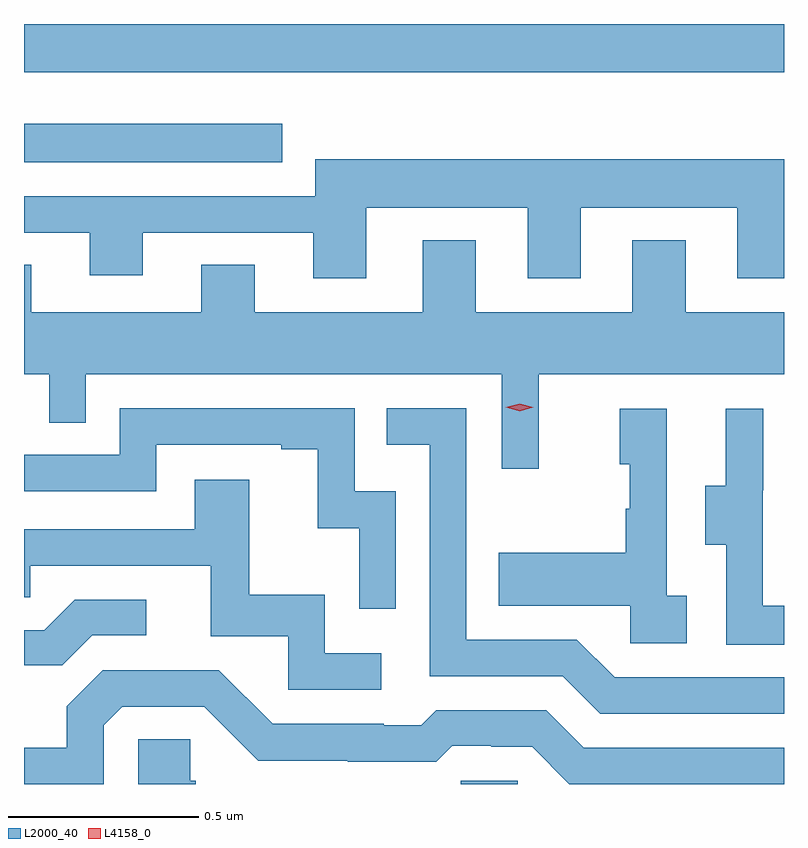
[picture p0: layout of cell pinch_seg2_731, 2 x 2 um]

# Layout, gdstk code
import gdstk
lib = gdstk.Library(unit=1e-6, precision=1e-09)
def R(c, l, rs):  # rectangles x0, y0, x1, y1
    for r in rs: c.add(gdstk.rectangle(r[:2], r[2:], *l))
def P(c, l, *ps):  # polygons
    for p in ps: c.add(gdstk.Polygon(p, *l))
L2000_40 = (2000, 40)
L4158_0 = (4158, 0)

pinch_seg2_731 = lib.new_cell('pinch_seg2_731')
R(pinch_seg2_731, L2000_40, [(1115.157,597.274,1115.307,597.282), (1114.008,598.91,1114.687,599.011), (1114.008,599.147,1116.008,599.274)])
P(pinch_seg2_731, L2000_40, [(1114.909,598.79),(1115.333,598.79),(1115.333,598.605),(1115.473,598.605),(1115.473,598.79),(1115.885,598.79),(1115.885,598.605),(1116.008,598.605),(1116.008,598.918),(1114.775,598.918),(1114.775,598.821),(1114.008,598.821),(1114.008,598.725),(1114.181,598.725),(1114.181,598.613),(1114.321,598.613),(1114.321,598.725),(1114.769,598.725),(1114.769,598.605),(1114.909,598.605)],
  [(1115.363,598.352),(1116.008,598.352),(1116.008,598.516),(1115.749,598.516),(1115.749,598.705),(1115.609,598.705),(1115.609,598.516),(1115.197,598.516),(1115.197,598.705),(1115.057,598.705),(1115.057,598.516),(1114.615,598.516),(1114.615,598.64),(1114.475,598.64),(1114.475,598.516),(1114.027,598.516),(1114.027,598.64),(1114.008,598.64),(1114.008,598.352),(1114.074,598.352),(1114.074,598.225),(1114.17,598.225),(1114.17,598.352),(1115.265,598.352),(1115.265,598.104),(1115.363,598.104)],
  [(1116.008,597.555),(1115.562,597.555),(1115.463,597.654),(1115.172,597.654),(1115.172,598.263),(1114.963,598.263),(1114.963,598.167),(1115.076,598.167),(1115.076,597.558),(1115.426,597.558),(1115.525,597.459),(1116.008,597.459)],
  [(1114.986,598.044),(1114.878,598.044),(1114.878,598.263),(1114.26,598.263),(1114.26,598.14),(1114.008,598.14),(1114.008,598.044),(1114.356,598.044),(1114.356,598.167),(1114.685,598.167),(1114.685,598.155),(1114.781,598.155),(1114.781,597.947),(1114.89,597.947),(1114.89,597.735),(1114.986,597.735)],
  [(1116.008,597.743),(1115.952,597.743),(1115.952,598.047),(1115.954,598.047),(1115.954,598.261),(1115.855,598.261),(1115.855,598.059),(1115.801,598.059),(1115.801,597.904),(1115.856,597.904),(1115.856,597.64),(1116.008,597.64)],
  [(1115.752,597.77),(1115.7,597.77),(1115.7,598.261),(1115.576,598.261),(1115.576,598.116),(1115.602,598.116),(1115.602,597.998),(1115.592,597.998),(1115.592,597.883),(1115.257,597.883),(1115.257,597.743),(1115.604,597.743),(1115.604,597.645),(1115.752,597.645)],
  [(1114.948,597.618),(1114.8,597.618),(1114.8,597.772),(1114.601,597.772),(1114.601,598.075),(1114.457,598.075),(1114.457,597.945),(1114.008,597.945),(1114.008,597.765),(1114.025,597.765),(1114.025,597.849),(1114.499,597.849),(1114.499,597.663),(1114.704,597.663),(1114.704,597.522),(1114.948,597.522)],
  [(1114.188,597.666),(1114.33,597.666),(1114.33,597.759),(1114.142,597.759),(1114.061,597.678),(1114.008,597.678),(1114.008,597.586),(1114.108,597.586)],
  [(1114.218,597.429),(1114.266,597.477),(1114.482,597.477),(1114.624,597.335),(1114.86,597.335),(1114.86,597.333),(1115.093,597.333),(1115.135,597.375),(1115.238,597.375),(1115.238,597.372),(1115.345,597.372),(1115.443,597.274),(1116.008,597.274),(1116.008,597.369),(1115.481,597.369),(1115.382,597.468),(1115.093,597.468),(1115.054,597.429),(1114.955,597.429),(1114.955,597.432),(1114.662,597.432),(1114.521,597.573),(1114.215,597.573),(1114.121,597.479),(1114.121,597.369),(1114.008,597.369),(1114.008,597.274),(1114.218,597.274)],
  [(1114.46,597.282),(1114.445,597.282),(1114.445,597.392),(1114.308,597.392),(1114.308,597.274),(1114.46,597.274)])
P(pinch_seg2_731, L4158_0, [(1115.312,598.255),(1115.276,598.266),(1115.276,598.266),(1115.276,598.266),(1115.312,598.275),(1115.348,598.265),(1115.348,598.265),(1115.348,598.265)])

lib.write_gds('pinch_seg2_731.gds')
